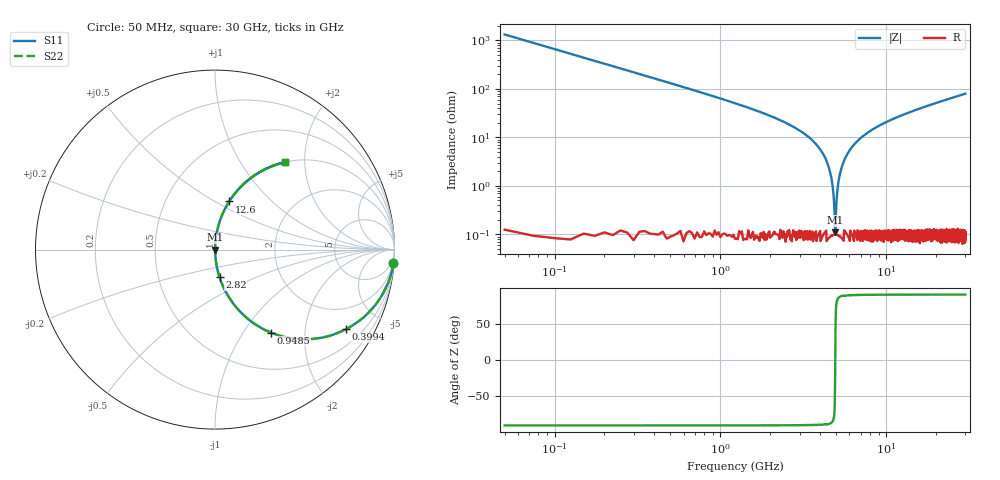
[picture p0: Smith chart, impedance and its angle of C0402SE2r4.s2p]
!	AVX Thin Film Operation 	Date: April 2014
!	Description: Accu-P® Series, Thin Film  SMD RF Capacitor
!	Part Number: 04025J2R4QBSTR
# MHZ S MA R 50
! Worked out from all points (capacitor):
!   1201 points, 50 MHz to 30 GHz, reference 50 ohm
!   read as one part in series: C = 2.4 pF near 199.8 MHz
!   lowest |Z| = 110 mohm at 4.917 GHz (marker M1)
!   series resonance near 4.926 GHz, so ESL is about 430 pH
!   S11 on the Smith chart (normalised r, x): 50 MHz: 1, -27; 399.4 MHz: 1.00, -3.30; 948.5 MHz: 1.00, -1.35; 2.82 GHz: 1.00, -0.32; 12.6 GHz: 1.00, +0.58; 30 GHz: 1.00, +1.59
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50  0.997 -4.3  0.075 85.7  0.075 85.7  0.997 -4.3
249.667  0.935 -20.7  0.353 69.3  0.353 69.3  0.935 -20.7
399.417  0.855 -31.2  0.518 58.7  0.518 58.7  0.855 -31.2
948.5  0.558 -56.0  0.829 33.9  0.829 33.9  0.558 -56.0
1647.333  0.336 -70.2  0.941 19.7  0.941 19.7  0.336 -70.2
2820.375  0.156 -80.7  0.987 9.0  0.987 9.0  0.156 -80.7
3693.917  0.078 -84.8  0.996 4.5  0.996 4.5  0.078 -84.8
4292.917  0.037 -86.4  0.998 2.1  0.998 2.1  0.037 -86.4
4617.375  0.017 -85.8  0.999 1.0  0.999 1.0  0.017 -85.8
4817.042  0.00608 -80.5  0.999 0.3  0.999 0.3  0.00608 -80.5
4916.875  0.001083 -26.5  0.999 0.0  0.999 0.0  0.001083 -26.5
5041.667  0.006334 80.8  0.999 -0.4  0.999 -0.4  0.006334 80.8
5191.417  0.014 85.3  0.999 -0.8  0.999 -0.8  0.014 85.3
5391.083  0.024 86.3  0.999 -1.4  0.999 -1.4  0.024 86.3
6114.875  0.059 85.7  0.997 -3.4  0.997 -3.4  0.059 85.7
7637.333  0.121 82.6  0.992 -6.9  0.992 -6.9  0.121 82.6
10058.29  0.204 77.9  0.978 -11.8  0.978 -11.8  0.204 77.9
12604.04  0.28 73.6  0.959 -16.3  0.959 -16.3  0.28 73.6
15025  0.344 69.7  0.938 -20.1  0.938 -20.1  0.344 69.7
20016.67  0.457 62.7  0.889 -27.2  0.889 -27.2  0.457 62.7
25033.29  0.549 56.6  0.835 -33.3  0.835 -33.3  0.549 56.6
30000  0.623 51.4  0.781 -38.6  0.781 -38.6  0.623 51.4
